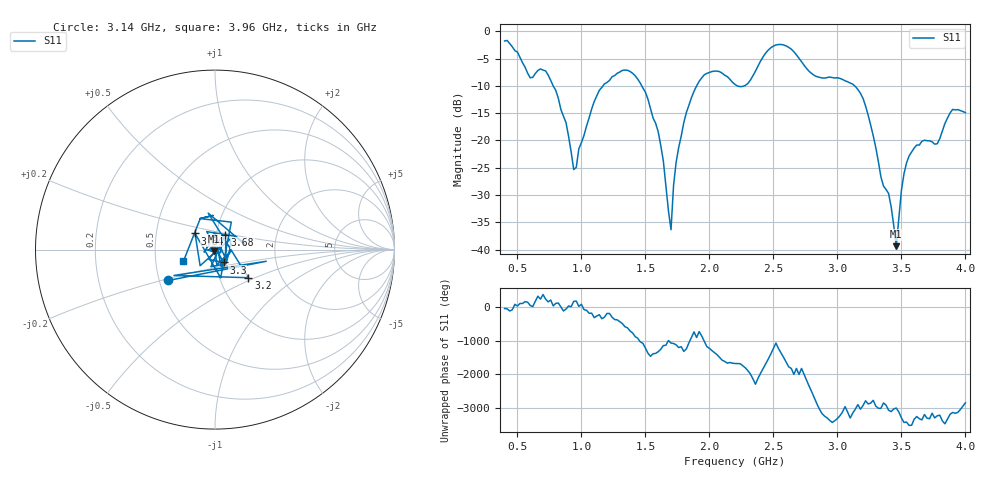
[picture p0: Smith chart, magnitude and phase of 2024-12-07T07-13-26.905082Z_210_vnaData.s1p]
!Created with skrf (http://scikit-rf.org).
# Hz S RI R 50.0
!freq ReS11 ImS11
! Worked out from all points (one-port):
!   181 points, 400 MHz to 4 GHz, reference 50 ohm
!   lowest |S11| = -39.4 dB at 3.46 GHz (marker M1), VSWR 1.02, Z = 49.6 - j0.976 ohm
!   |S11| at or under -10 dB: 779.5 MHz to 1.169 GHz (389.3 MHz wide, 40 % of centre); 1.471 GHz to 1.9 GHz (428.7 MHz wide, 25.4 % of centre); 3.135 GHz to end of sweep (the widest 3 of 4)
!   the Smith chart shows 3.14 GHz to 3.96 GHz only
!   S11 on the Smith chart (normalised r, x): 3.14 GHz: 0.56, -0.21; 3.2 GHz: 1.37, -0.46; 3.3 GHz: 1.09, -0.16; 3.68 GHz: 1.10, +0.18; 3.84 GHz: 0.79, +0.14; 3.96 GHz: 0.70, -0.09
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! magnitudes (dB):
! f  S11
! 400 MHz  -1.8
! 600 MHz  -8.5
! 720 MHz  -7.3
! 860 MHz  -15.6
! 940 MHz  -25.3
! 1.14 GHz  -10.8
! 1.3 GHz  -7.5
! 1.52 GHz  -12.5
! 1.62 GHz  -20.9
! 1.7 GHz  -36.4
! 1.72 GHz  -28.2
! 1.76 GHz  -21.3
! 1.96 GHz  -8.0
! 2.2 GHz  -9.7
! 2.5 GHz  -2.7
! 2.66 GHz  -3.8
! 3.1 GHz  -9.5
! 3.14 GHz  -10.1
! 3.2 GHz  -12.3
! 3.3 GHz  -21.3
! 3.4 GHz  -29.7
! 3.46 GHz  -39.4
! 3.5 GHz  -29.2
! 3.56 GHz  -22.8
! 3.68 GHz  -20.0
! 3.84 GHz  -16.9
! 3.96 GHz  -14.5
! 4 GHz  -14.9
